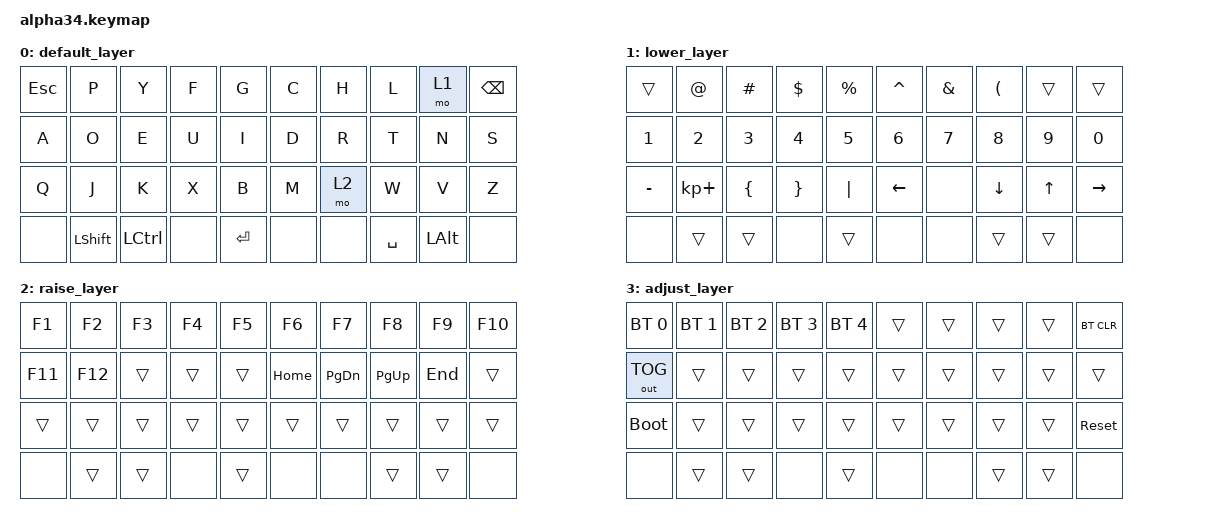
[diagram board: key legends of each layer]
#include <behaviors.dtsi>
#include <dt-bindings/zmk/keys.h>
#include <dt-bindings/zmk/bt.h>
#include <dt-bindings/zmk/outputs.h>

#define DEFAULT 0
#define LOWER 1
#define RAISE 2
#define ADJUST 3

/ {
    conditional_layers {
        compatible = "zmk,conditional-layers";
        tri_layer {
            if-layers = <1 2>;
            then-layer = <3>;
        };
    };
};

/ {
    keymap {
        compatible = "zmk,keymap";

        default_layer { // Layer 0 - DEFAULT
            // Layout principal Dvorak
            bindings = <
                &kp ESC  &kp P      &kp Y     &kp F   &kp G    &kp C    &kp H    &kp L     &mo 1    &kp BSPC
                &kp A    &kp O      &kp E     &kp U   &kp I    &kp D    &kp R    &kp T     &kp N    &kp S   
                &kp Q    &kp J      &kp K     &kp X   &kp B    &kp M    &mo 2    &kp W     &kp V    &kp Z   
                &none    &kp LSHIFT &kp LCTRL &none   &kp RET  &none    &none    &kp SPACE &kp LALT &none
            >;
        };
        
        lower_layer { // Layer 1 - LOWER
            // Números y símbolos
            bindings = <
                &trans    &kp AT      &kp HASH  &kp DLLR  &kp PRCNT &kp CARET &kp AMPS  &kp LPAR  &trans    &trans
                &kp N1    &kp N2      &kp N3    &kp N4    &kp N5    &kp N6    &kp N7    &kp N8    &kp N9    &kp N0
                &kp MINUS &kp KP_PLUS &kp LBRC  &kp RBRC  &kp PIPE  &kp LEFT  &none     &kp DOWN  &kp UP    &kp RIGHT 
                &none     &trans      &trans    &none     &trans    &none     &none     &trans    &trans    &none
            >;
        };       
        
        raise_layer { // Layer 2 - RAISE
            // Funciones del sistema y navegación
            bindings = <
                &kp F1    &kp F2      &kp F3    &kp F4    &kp F5    &kp F6    &kp F7    &kp F8    &kp F9    &kp F10
                &kp F11   &kp F12     &trans    &trans    &trans    &kp HOME  &kp PG_DN &kp PG_UP &kp END   &trans
                &trans    &trans      &trans    &trans    &trans    &trans    &trans    &trans    &trans    &trans
                &none     &trans      &trans    &none     &trans    &none     &none     &trans    &trans    &none
            >;
        };
        
        adjust_layer { // Layer 3 - ADJUST (Activada con LOWER + RAISE)
            // Controles BLE y configuración
            // Fila superior: Perfiles BT y Clear
            // Fila media: Output toggle y otras funciones
            bindings = <
                &bt BT_SEL 0 &bt BT_SEL 1 &bt BT_SEL 2 &bt BT_SEL 3 &bt BT_SEL 4 &trans      &trans    &trans    &trans    &bt BT_CLR
                &out OUT_TOG &trans       &trans       &trans       &trans       &trans      &trans    &trans    &trans    &trans
                &bootloader  &trans       &trans       &trans       &trans       &trans      &trans    &trans    &trans    &sys_reset
                &none        &trans       &trans       &none        &trans       &none       &none     &trans    &trans    &none
            >;
        };
        
    };
};
